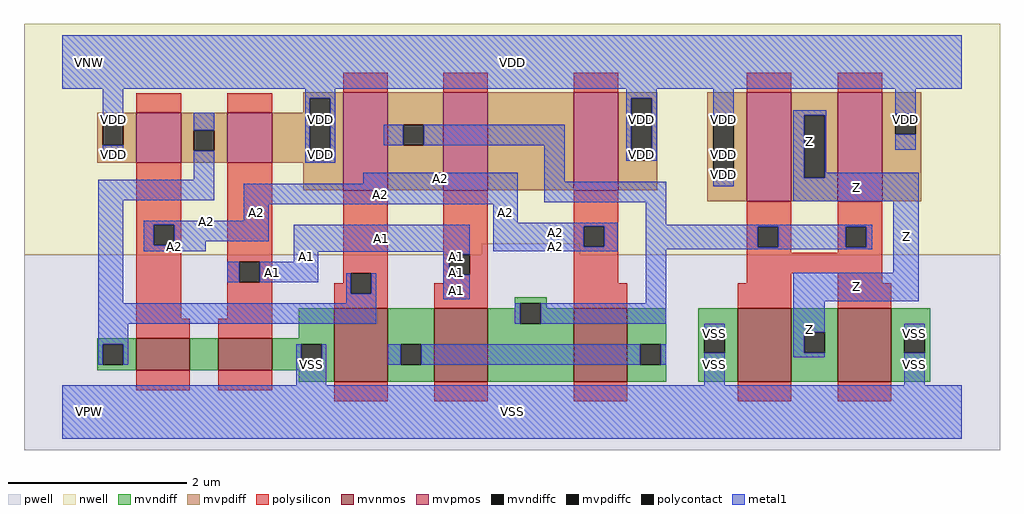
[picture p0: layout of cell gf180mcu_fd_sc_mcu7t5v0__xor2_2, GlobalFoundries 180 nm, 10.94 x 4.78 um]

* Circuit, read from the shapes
.subckt gf180mcu_fd_sc_mcu7t5v0__xor2_2 A1 A2 Z VDD VNW VPW VSS
XM1 n1 A2 n2 VPW nfet_06v0 w=0.36u l=0.6u
XM2 VSS A1 n1 VPW nfet_06v0 w=0.36u l=0.6u
XM3 n3 n2 VSS VPW nfet_06v0 w=0.82u l=0.6u
XM4 n4 A1 n3 VPW nfet_06v0 w=0.82u l=0.6u
XM5 n3 A2 n4 VPW nfet_06v0 w=0.82u l=0.6u
XM6 Z n4 VSS VPW nfet_06v0 w=0.82u l=0.6u m=2
XM7 n2 A2 VDD VNW pfet_06v0 w=0.56u l=0.5u
XM8 VDD A1 n2 VNW pfet_06v0 w=0.56u l=0.5u
XM9 n4 n2 VDD VNW pfet_06v0 w=1.095u l=0.5u
XM10 n5 A1 n4 VNW pfet_06v0 w=1.095u l=0.5u
XM11 VDD A2 n5 VNW pfet_06v0 w=1.095u l=0.5u
XM12 Z n4 VDD VNW pfet_06v0 w=1.22u l=0.5u m=2
.ends

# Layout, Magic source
magic
tech gf180mcuD
magscale 1 10
<< nwell >>
rect -86 377 2102 870
rect -86 352 940 377
rect 1160 352 2102 377
<< pwell >>
rect 940 352 1160 377
rect -86 -86 2102 352
<< mvnmos >>
rect 166 93 286 165
rect 350 93 470 165
rect 610 68 730 232
rect 834 68 954 232
rect 1146 68 1266 232
rect 1514 68 1634 232
rect 1738 68 1858 232
<< mvpmos >>
rect 166 558 266 670
rect 370 558 470 670
rect 630 497 730 716
rect 854 497 954 716
rect 1146 497 1246 716
rect 1534 472 1634 716
rect 1738 472 1838 716
<< mvndiff >>
rect 1014 244 1086 257
rect 1014 232 1027 244
rect 530 165 610 232
rect 78 152 166 165
rect 78 106 91 152
rect 137 106 166 152
rect 78 93 166 106
rect 286 93 350 165
rect 470 152 610 165
rect 470 106 535 152
rect 581 106 610 152
rect 470 93 610 106
rect 530 68 610 93
rect 730 152 834 232
rect 730 106 759 152
rect 805 106 834 152
rect 730 68 834 106
rect 954 198 1027 232
rect 1073 232 1086 244
rect 1073 198 1146 232
rect 954 68 1146 198
rect 1266 152 1354 232
rect 1266 106 1295 152
rect 1341 106 1354 152
rect 1266 68 1354 106
rect 1426 179 1514 232
rect 1426 133 1439 179
rect 1485 133 1514 179
rect 1426 68 1514 133
rect 1634 179 1738 232
rect 1634 133 1663 179
rect 1709 133 1738 179
rect 1634 68 1738 133
rect 1858 179 1946 232
rect 1858 133 1887 179
rect 1933 133 1946 179
rect 1858 68 1946 133
<< mvpdiff >>
rect 540 703 630 716
rect 540 670 555 703
rect 78 644 166 670
rect 78 598 91 644
rect 137 598 166 644
rect 78 558 166 598
rect 266 631 370 670
rect 266 585 295 631
rect 341 585 370 631
rect 266 558 370 585
rect 470 563 555 670
rect 601 563 630 703
rect 470 558 630 563
rect 540 497 630 558
rect 730 644 854 716
rect 730 598 764 644
rect 810 598 854 644
rect 730 497 854 598
rect 954 497 1146 716
rect 1246 703 1334 716
rect 1246 563 1275 703
rect 1321 563 1334 703
rect 1246 497 1334 563
rect 1446 665 1534 716
rect 1446 525 1459 665
rect 1505 525 1534 665
rect 1446 472 1534 525
rect 1634 665 1738 716
rect 1634 525 1663 665
rect 1709 525 1738 665
rect 1634 472 1738 525
rect 1838 668 1926 716
rect 1838 622 1867 668
rect 1913 622 1926 668
rect 1838 472 1926 622
<< mvndiffc >>
rect 91 106 137 152
rect 535 106 581 152
rect 759 106 805 152
rect 1027 198 1073 244
rect 1295 106 1341 152
rect 1439 133 1485 179
rect 1663 133 1709 179
rect 1887 133 1933 179
<< mvpdiffc >>
rect 91 598 137 644
rect 295 585 341 631
rect 555 563 601 703
rect 764 598 810 644
rect 1275 563 1321 703
rect 1459 525 1505 665
rect 1663 525 1709 665
rect 1867 622 1913 668
<< polysilicon >>
rect 630 716 730 760
rect 854 716 954 760
rect 1146 716 1246 760
rect 1534 716 1634 760
rect 1738 716 1838 760
rect 166 670 266 714
rect 370 670 470 714
rect 166 419 266 558
rect 166 373 205 419
rect 251 373 266 419
rect 166 209 266 373
rect 370 336 470 558
rect 370 290 397 336
rect 443 290 470 336
rect 370 209 470 290
rect 630 311 730 497
rect 630 288 647 311
rect 610 265 647 288
rect 693 265 730 311
rect 854 353 954 497
rect 854 307 867 353
rect 913 307 954 353
rect 854 288 954 307
rect 610 232 730 265
rect 834 232 954 288
rect 1146 416 1246 497
rect 1146 370 1169 416
rect 1215 370 1246 416
rect 1146 288 1246 370
rect 1534 415 1634 472
rect 1534 369 1559 415
rect 1605 369 1634 415
rect 1534 357 1634 369
rect 1738 415 1838 472
rect 1738 369 1756 415
rect 1802 369 1838 415
rect 1738 357 1838 369
rect 1534 311 1838 357
rect 1534 288 1634 311
rect 166 165 286 209
rect 350 165 470 209
rect 166 49 286 93
rect 350 49 470 93
rect 1146 232 1266 288
rect 1514 232 1634 288
rect 1738 288 1838 311
rect 1738 232 1858 288
rect 610 24 730 68
rect 834 24 954 68
rect 1146 24 1266 68
rect 1514 24 1634 68
rect 1738 24 1858 68
<< polycontact >>
rect 205 373 251 419
rect 397 290 443 336
rect 647 265 693 311
rect 867 307 913 353
rect 1169 370 1215 416
rect 1559 369 1605 415
rect 1756 369 1802 415
<< metal1 >>
rect 0 724 2016 844
rect 91 644 137 724
rect 544 703 612 724
rect 91 566 137 598
rect 295 631 341 670
rect 295 520 341 585
rect 544 563 555 703
rect 601 563 612 703
rect 1264 703 1332 724
rect 720 598 764 644
rect 810 598 1126 644
rect 544 558 612 563
rect 80 474 341 520
rect 675 511 1021 536
rect 80 244 136 474
rect 407 465 1021 511
rect 1080 516 1126 598
rect 1264 563 1275 703
rect 1321 563 1332 703
rect 1459 665 1505 724
rect 1080 470 1354 516
rect 1459 506 1505 525
rect 1639 665 1712 676
rect 1639 525 1663 665
rect 1709 536 1712 665
rect 1867 668 1913 724
rect 1867 588 1913 622
rect 1709 525 1920 536
rect 1639 472 1920 525
rect 407 428 463 465
rect 183 419 463 428
rect 966 424 1021 465
rect 183 373 205 419
rect 251 382 463 419
rect 251 373 322 382
rect 183 360 322 373
rect 519 359 913 419
rect 966 416 1245 424
rect 966 370 1169 416
rect 1215 370 1245 416
rect 966 360 1245 370
rect 1308 419 1354 470
rect 1308 415 1816 419
rect 1308 369 1559 415
rect 1605 369 1756 415
rect 1802 369 1816 415
rect 1308 364 1816 369
rect 519 336 574 359
rect 370 290 397 336
rect 443 290 574 336
rect 854 353 913 359
rect 636 265 647 311
rect 693 265 704 311
rect 636 244 704 265
rect 854 307 867 353
rect 854 253 913 307
rect 1308 244 1354 364
rect 1863 312 1920 472
rect 80 198 704 244
rect 1014 198 1027 244
rect 1073 198 1354 244
rect 1639 248 1920 312
rect 80 152 148 198
rect 1439 179 1485 198
rect 80 106 91 152
rect 137 106 148 152
rect 524 106 535 152
rect 581 106 592 152
rect 730 106 759 152
rect 805 106 1295 152
rect 1341 106 1354 152
rect 524 60 592 106
rect 1439 60 1485 133
rect 1639 179 1709 248
rect 1639 133 1663 179
rect 1639 122 1709 133
rect 1887 179 1933 198
rect 1887 60 1933 133
rect 0 -60 2016 60
<< labels >>
flabel metal1 s 0 724 2016 844 0 FreeSans 400 0 0 0 VDD
port 4 nsew power bidirectional abutment
flabel metal1 s 1887 152 1933 198 0 FreeSans 400 0 0 0 VSS
port 7 nsew ground bidirectional abutment
flabel metal1 s 1639 536 1712 676 0 FreeSans 400 0 0 0 Z
port 3 nsew default output
flabel metal1 s 519 359 913 419 0 FreeSans 400 0 0 0 A1
port 1 nsew default input
flabel metal1 s 675 511 1021 536 0 FreeSans 400 0 0 0 A2
port 2 nsew default input
flabel nwell s 10 734 110 834 0 FreeSans 400 0 0 0 VNW
port 5 nsew power bidirectional
flabel pwell s 10 -50 110 50 0 FreeSans 400 0 0 0 VPW
port 6 nsew ground bidirectional
rlabel metal1 s 854 336 913 359 1 A1
port 1 nsew default input
rlabel metal1 s 519 336 574 359 1 A1
port 1 nsew default input
rlabel metal1 s 854 290 913 336 1 A1
port 1 nsew default input
rlabel metal1 s 370 290 574 336 1 A1
port 1 nsew default input
rlabel metal1 s 854 253 913 290 1 A1
port 1 nsew default input
rlabel metal1 s 407 465 1021 511 1 A2
port 2 nsew default input
rlabel metal1 s 966 428 1021 465 1 A2
port 2 nsew default input
rlabel metal1 s 407 428 463 465 1 A2
port 2 nsew default input
rlabel metal1 s 966 424 1021 428 1 A2
port 2 nsew default input
rlabel metal1 s 183 424 463 428 1 A2
port 2 nsew default input
rlabel metal1 s 966 382 1245 424 1 A2
port 2 nsew default input
rlabel metal1 s 183 382 463 424 1 A2
port 2 nsew default input
rlabel metal1 s 966 360 1245 382 1 A2
port 2 nsew default input
rlabel metal1 s 183 360 322 382 1 A2
port 2 nsew default input
rlabel metal1 s 1639 472 1920 536 1 Z
port 3 nsew default output
rlabel metal1 s 1863 312 1920 472 1 Z
port 3 nsew default output
rlabel metal1 s 1639 248 1920 312 1 Z
port 3 nsew default output
rlabel metal1 s 1639 122 1709 248 1 Z
port 3 nsew default output
rlabel metal1 s 1867 588 1913 724 1 VDD
port 4 nsew power bidirectional abutment
rlabel metal1 s 1459 588 1505 724 1 VDD
port 4 nsew power bidirectional abutment
rlabel metal1 s 1264 588 1332 724 1 VDD
port 4 nsew power bidirectional abutment
rlabel metal1 s 544 588 612 724 1 VDD
port 4 nsew power bidirectional abutment
rlabel metal1 s 91 588 137 724 1 VDD
port 4 nsew power bidirectional abutment
rlabel metal1 s 1459 566 1505 588 1 VDD
port 4 nsew power bidirectional abutment
rlabel metal1 s 1264 566 1332 588 1 VDD
port 4 nsew power bidirectional abutment
rlabel metal1 s 544 566 612 588 1 VDD
port 4 nsew power bidirectional abutment
rlabel metal1 s 91 566 137 588 1 VDD
port 4 nsew power bidirectional abutment
rlabel metal1 s 1459 563 1505 566 1 VDD
port 4 nsew power bidirectional abutment
rlabel metal1 s 1264 563 1332 566 1 VDD
port 4 nsew power bidirectional abutment
rlabel metal1 s 544 563 612 566 1 VDD
port 4 nsew power bidirectional abutment
rlabel metal1 s 1459 558 1505 563 1 VDD
port 4 nsew power bidirectional abutment
rlabel metal1 s 544 558 612 563 1 VDD
port 4 nsew power bidirectional abutment
rlabel metal1 s 1459 506 1505 558 1 VDD
port 4 nsew power bidirectional abutment
rlabel metal1 s 1439 152 1485 198 1 VSS
port 7 nsew ground bidirectional abutment
rlabel metal1 s 1887 60 1933 152 1 VSS
port 7 nsew ground bidirectional abutment
rlabel metal1 s 1439 60 1485 152 1 VSS
port 7 nsew ground bidirectional abutment
rlabel metal1 s 524 60 592 152 1 VSS
port 7 nsew ground bidirectional abutment
rlabel metal1 s 0 -60 2016 60 1 VSS
port 7 nsew ground bidirectional abutment
<< properties >>
string FIXED_BBOX 0 0 2016 784
string GDS_END 365216
string GDS_FILE $PDKPATH/libs.ref/gf180mcu_fd_sc_mcu7t5v0/gds/gf180mcu_fd_sc_mcu7t5v0.gds
string GDS_START 360078
string LEFclass core
string LEFsite GF018hv5v_mcu_sc7
string LEFsymmetry X Y
<< end >>
